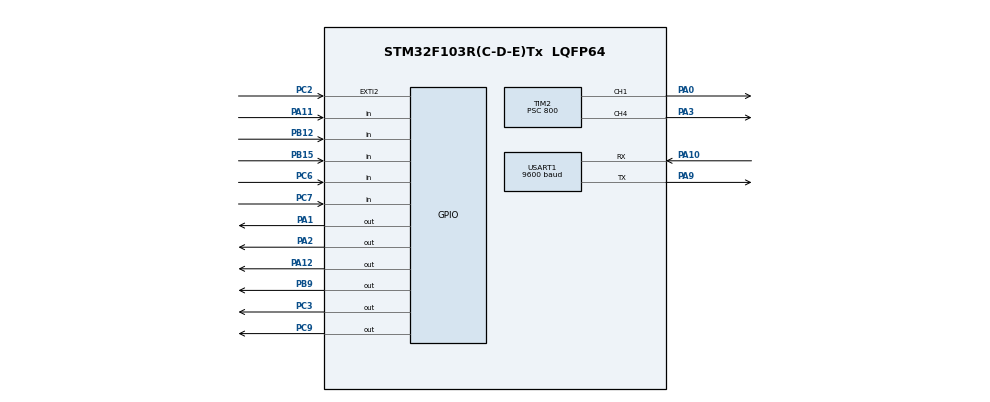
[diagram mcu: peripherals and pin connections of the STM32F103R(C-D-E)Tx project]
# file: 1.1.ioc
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Dma.Request0=USART1_RX
Dma.Request1=TIM6_UP
Dma.Request2=TIM7_UP
Dma.TIM6_UP.1.Direction=DMA_PERIPH_TO_MEMORY
Dma.TIM6_UP.1.Instance=DMA2_Channel3
Dma.TIM6_UP.1.MemDataAlignment=DMA_MDATAALIGN_HALFWORD
Dma.TIM6_UP.1.MemInc=DMA_MINC_ENABLE
Dma.TIM6_UP.1.Mode=DMA_CIRCULAR
Dma.TIM6_UP.1.PeriphDataAlignment=DMA_PDATAALIGN_HALFWORD
Dma.TIM6_UP.1.PeriphInc=DMA_PINC_DISABLE
Dma.TIM6_UP.1.Priority=DMA_PRIORITY_LOW
Dma.TIM7_UP.2.Direction=DMA_PERIPH_TO_MEMORY
Dma.TIM7_UP.2.Instance=DMA2_Channel4
Dma.TIM7_UP.2.MemDataAlignment=DMA_MDATAALIGN_HALFWORD
Dma.TIM7_UP.2.MemInc=DMA_MINC_ENABLE
Dma.TIM7_UP.2.Mode=DMA_CIRCULAR
Dma.TIM7_UP.2.PeriphDataAlignment=DMA_PDATAALIGN_HALFWORD
Dma.TIM7_UP.2.PeriphInc=DMA_PINC_DISABLE
Dma.TIM7_UP.2.Priority=DMA_PRIORITY_LOW
Dma.USART1_RX.0.Direction=DMA_PERIPH_TO_MEMORY
Dma.USART1_RX.0.Instance=DMA1_Channel5
Dma.USART1_RX.0.MemDataAlignment=DMA_MDATAALIGN_WORD
Dma.USART1_RX.0.MemInc=DMA_MINC_ENABLE
Dma.USART1_RX.0.Mode=DMA_CIRCULAR
Dma.USART1_RX.0.PeriphDataAlignment=DMA_PDATAALIGN_WORD
Dma.USART1_RX.0.PeriphInc=DMA_PINC_DISABLE
Dma.USART1_RX.0.Priority=DMA_PRIORITY_LOW
Mcu.Family=STM32F1
Mcu.Name=STM32F103R(C-D-E)Tx
Mcu.Package=LQFP64
NVIC.DMA1_Channel5_IRQn=true\:0\:0\:false\:false\:true
NVIC.DMA2_Channel3_IRQn=true\:0\:0\:false\:false\:true
NVIC.DMA2_Channel4_5_IRQn=true\:0\:0\:false\:false\:true
NVIC.EXTI2_IRQn=true\:0\:0\:false\:false\:true
NVIC.PriorityGroup=NVIC_PRIORITYGROUP_4
NVIC.TIM6_IRQn=true\:0\:0\:false\:false\:true
NVIC.TIM7_IRQn=true\:0\:0\:false\:false\:true
NVIC.USART1_IRQn=true\:0\:0\:false\:false\:true
PA0-WKUP.Signal=S_TIM2_CH1_ETR
PA1.Signal=GPIO_Output
PA10.Mode=Asynchronous
PA10.Signal=USART1_RX
PA11.Signal=GPIO_Input
PA12.Signal=GPIO_Output
PA13.Mode=Serial_Wire
PA13.Signal=SYS_JTMS-SWDIO
PA14.Mode=Serial_Wire
PA14.Signal=SYS_JTCK-SWCLK
PA2.Signal=GPIO_Output
PA3.Signal=S_TIM2_CH4
PA9.Mode=Asynchronous
PA9.Signal=USART1_TX
PB12.Signal=GPIO_Input
PB15.Signal=GPIO_Input
PB9.Signal=GPIO_Output
PC2.GPIO_ModeDefaultEXTI=GPIO_MODE_IT_RISING_FALLING
PC2.Signal=GPXTI2
PC3.Signal=GPIO_Output
PC6.Signal=GPIO_Input
PC7.Signal=GPIO_Input
PC9.Signal=GPIO_Output
ProjectManager.HeapSize=0x200
ProjectManager.StackSize=0x400
ProjectManager.TargetToolchain=MDK-ARM V5
RCC.APB1Freq_Value=8000000
RCC.APB2Freq_Value=8000000
SH.S_TIM2_CH1_ETR.0=TIM2_CH1,PWM Generation1 CH1
SH.S_TIM2_CH4.0=TIM2_CH4,PWM Generation4 CH4
TIM2.Channel-PWM\ Generation1\ CH1=TIM_CHANNEL_1
TIM2.Channel-PWM\ Generation4\ CH4=TIM_CHANNEL_4
TIM2.Period=999
TIM2.Prescaler=800
TIM2.Pulse-PWM\ Generation1\ CH1=999
TIM2.Pulse-PWM\ Generation4\ CH4=999
TIM6.Period=10000
TIM6.Prescaler=800
TIM7.Period=160
USART1.BaudRate=9600
USART1.VirtualMode=VM_ASYNC
VP_TIM6_VS_ClockSourceINT.Mode=Enable_Timer
VP_TIM7_VS_ClockSourceINT.Mode=Enable_Timer
board=1.1

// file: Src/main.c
/**
  ******************************************************************************
  * File Name          : main.c
  * Description        : Main program body
  ******************************************************************************
  ** This notice applies to any and all portions of this file
  * that are not between comment pairs USER CODE BEGIN and
  * USER CODE END. Other portions of this file, whether
  * inserted by the user or by software development tools
  * are owned by their respective copyright owners.
  *
  * COPYRIGHT(c) 2022 STMicroelectronics
  *
  * Redistribution and use in source and binary forms, with or without modification,
  * are permitted provided that the following conditions are met:
  *   1. Redistributions of source code must retain the above copyright notice,
  *      this list of conditions and the following disclaimer.
  *   2. Redistributions in binary form must reproduce the above copyright notice,
  *      this list of conditions and the following disclaimer in the documentation
  *      and/or other materials provided with the distribution.
  *   3. Neither the name of STMicroelectronics nor the names of its contributors
  *      may be used to endorse or promote products derived from this software
  *      without specific prior written permission.
  *
  * THIS SOFTWARE IS PROVIDED BY THE COPYRIGHT HOLDERS AND CONTRIBUTORS "AS IS"
  * AND ANY EXPRESS OR IMPLIED WARRANTIES, INCLUDING, BUT NOT LIMITED TO, THE
  * IMPLIED WARRANTIES OF MERCHANTABILITY AND FITNESS FOR A PARTICULAR PURPOSE ARE
  * DISCLAIMED. IN NO EVENT SHALL THE COPYRIGHT HOLDER OR CONTRIBUTORS BE LIABLE
  * FOR ANY DIRECT, INDIRECT, INCIDENTAL, SPECIAL, EXEMPLARY, OR CONSEQUENTIAL
  * DAMAGES (INCLUDING, BUT NOT LIMITED TO, PROCUREMENT OF SUBSTITUTE GOODS OR
  * SERVICES; LOSS OF USE, DATA, OR PROFITS; OR BUSINESS INTERRUPTION) HOWEVER
  * CAUSED AND ON ANY THEORY OF LIABILITY, WHETHER IN CONTRACT, STRICT LIABILITY,
  * OR TORT (INCLUDING NEGLIGENCE OR OTHERWISE) ARISING IN ANY WAY OUT OF THE USE
  * OF THIS SOFTWARE, EVEN IF ADVISED OF THE POSSIBILITY OF SUCH DAMAGE.
  *
  ******************************************************************************
  */
#include "main.h"
#include "stm32f1xx_hal.h"
#include "dma.h"
#include "tim.h"
#include "usart.h"
#include "gpio.h"

/* USER CODE BEGIN Includes */
#include "string.h"

#include "Legacy/stm32_hal_legacy.h"
#define USE_HAL_LEGACY

#define Echo_GPIO GPIOC
#define Echo_PIN GPIO_PIN_2

#define Trig_GPIO GPIOC
#define Trig_PIN GPIO_PIN_3

//定义电机pwm占空比
#define full_speed 150

#define null_speed 0

#define correct_speed 100

#define MOTOR_A_CON1_GPIO GPIOA
#define MOTOR_A_CON1_PIN GPIO_PIN_2

#define MOTOR_A_CON2_GPIO GPIOB
#define MOTOR_A_CON2_PIN GPIO_PIN_9

#define MOTOR_A_EN_GPIO GPIOA
#define MOTOR_A_EN_PIN GPIO_PIN_0

#define MOTOR_B_CON1_GPIO GPIOA
#define MOTOR_B_CON1_PIN GPIO_PIN_1

#define MOTOR_B_CON2_GPIO GPIOC
#define MOTOR_B_CON2_PIN GPIO_PIN_9

#define MOTOR_B_EN_GPIO GPIOA
#define MOTOR_B_EN_PIN GPIO_PIN_3

//定义红外引脚
#define Left1_GPIO GPIOC
#define Left1_PIN GPIO_PIN_7

#define Left2_GPIO GPIOC
#define Left2_PIN GPIO_PIN_6

#define Middle_GPIO  GPIOB
#define Middle_PIN  GPIO_PIN_12

#define Right1_GPIO GPIOA
#define Right1_PIN GPIO_PIN_11

#define Right2_GPIO GPIOB
#define Right2_PIN GPIO_PIN_15

#define Left1 HAL_GPIO_ReadPin(Left1_GPIO,Left1_PIN)
#define Left2 HAL_GPIO_ReadPin(Left2_GPIO,Left2_PIN)
#define Middle HAL_GPIO_ReadPin(Middle_GPIO,Middle_PIN)
#define Right1 HAL_GPIO_ReadPin(Right1_GPIO,Right1_PIN)
#define Right2 HAL_GPIO_ReadPin(Right2_GPIO,Right2_PIN)

/* USER CODE END Includes */

/* USER CODE BEGIN PV */
/* Private variables ---------------------------------------------------------*/
//	uint8_t RxData[5];
	char RxData[1];
	int ultrasonic = 0;
	int ultrasonic_time;
	unsigned char b[4]={0};

/* USER CODE END PV */

void SystemClock_Config(void);

/* USER CODE BEGIN PFP */
/* Private function prototypes -----------------------------------------------*/

/* USER CODE END PFP */

/* USER CODE BEGIN 0 */
//输入
//int fputc(int ch, FILE *f)
//{
//    while((USART1->SR&0X40)==0);
//    USART1->DR = (uint8_t) ch;
//    return ch;
//}
//电机驱动
void Change_Pulse(uint16_t left,uint16_t right)
{
	__HAL_TIM_SetCompare(&htim2, TIM_CHANNEL_1, left);
	__HAL_TIM_SetCompare(&htim2, TIM_CHANNEL_4, right);

}
//-----------------------------------------------
void Correct_Left(void)//左转
 {
	Change_Pulse(correct_speed,full_speed);
	HAL_GPIO_WritePin(MOTOR_A_CON1_GPIO, MOTOR_A_CON1_PIN, GPIO_PIN_SET);
	HAL_GPIO_WritePin(MOTOR_A_CON2_GPIO, MOTOR_A_CON2_PIN, GPIO_PIN_RESET);
	HAL_GPIO_WritePin(MOTOR_B_CON1_GPIO, MOTOR_B_CON1_PIN, GPIO_PIN_RESET);
	HAL_GPIO_WritePin(MOTOR_B_CON2_GPIO, MOTOR_B_CON2_PIN, GPIO_PIN_SET);
 }
//------------------------------------------------
 void Correct_Right(void)//右转
 {
	Change_Pulse(full_speed,correct_speed);
	HAL_GPIO_WritePin(MOTOR_A_CON1_GPIO, MOTOR_A_CON1_PIN, GPIO_PIN_RESET);
	HAL_GPIO_WritePin(MOTOR_A_CON2_GPIO, MOTOR_A_CON2_PIN, GPIO_PIN_SET);
	HAL_GPIO_WritePin(MOTOR_B_CON1_GPIO, MOTOR_B_CON1_PIN, GPIO_PIN_SET);
	HAL_GPIO_WritePin(MOTOR_B_CON2_GPIO, MOTOR_B_CON2_PIN, GPIO_PIN_RESET);
 }
//-----------------------------------------------------
void Straight(void)	//直行
{
	Change_Pulse(full_speed,full_speed);
	HAL_GPIO_WritePin(MOTOR_A_CON1_GPIO, MOTOR_A_CON1_PIN, GPIO_PIN_RESET);
	HAL_GPIO_WritePin(MOTOR_A_CON2_GPIO, MOTOR_A_CON2_PIN, GPIO_PIN_SET);
	HAL_GPIO_WritePin(MOTOR_B_CON1_GPIO, MOTOR_B_CON1_PIN, GPIO_PIN_RESET);
	HAL_GPIO_WritePin(MOTOR_B_CON2_GPIO, MOTOR_B_CON2_PIN, GPIO_PIN_SET);
}
void Back(void)	//后退
{
	Change_Pulse(full_speed,full_speed);
	HAL_GPIO_WritePin(MOTOR_A_CON1_GPIO, MOTOR_A_CON1_PIN, GPIO_PIN_SET);
	HAL_GPIO_WritePin(MOTOR_A_CON2_GPIO, MOTOR_A_CON2_PIN, GPIO_PIN_RESET);
	HAL_GPIO_WritePin(MOTOR_B_CON1_GPIO, MOTOR_B_CON1_PIN, GPIO_PIN_SET);
	HAL_GPIO_WritePin(MOTOR_B_CON2_GPIO, MOTOR_B_CON2_PIN, GPIO_PIN_RESET);
}
void Stop(void)	//停止
{
	Change_Pulse(null_speed,null_speed);
	HAL_GPIO_WritePin(MOTOR_A_CON1_GPIO, MOTOR_A_CON1_PIN, GPIO_PIN_RESET);
	HAL_GPIO_WritePin(MOTOR_A_CON2_GPIO, MOTOR_A_CON2_PIN, GPIO_PIN_RESET);
	HAL_GPIO_WritePin(MOTOR_B_CON1_GPIO, MOTOR_B_CON1_PIN, GPIO_PIN_RESET);
	HAL_GPIO_WritePin(MOTOR_B_CON2_GPIO, MOTOR_B_CON2_PIN, GPIO_PIN_RESET);
}
//循迹函数
void Xunji(void)
{
		if(0 == HAL_GPIO_ReadPin(Left2_GPIO,Left2_PIN) && 0 == HAL_GPIO_ReadPin(Right2_GPIO,Right2_PIN))
		{
			Straight();
		}
		else if(0 == HAL_GPIO_ReadPin(Right2_GPIO,Right2_PIN) || 0 == HAL_GPIO_ReadPin(Right1_GPIO,Right1_PIN))
		{
			Correct_Right();
			HAL_Delay(1000);
		}
		else if(0 == HAL_GPIO_ReadPin(Left2_GPIO,Left2_PIN) || 0 == HAL_GPIO_ReadPin(Left1_GPIO,Left1_PIN))
		{
			Correct_Left();
			HAL_Delay(1000);
		}
		else
		{
			Correct_Left();
			HAL_Delay(5000);
		}
}
/* USER CODE END 0 */

int main(void)
{

  /* MCU Configuration----------------------------------------------------------*/

  /* Reset of all peripherals, Initializes the Flash interface and the Systick. */
  HAL_Init();

  /* Configure the system clock */
  SystemClock_Config();

  /* Initialize all configured peripherals */
  MX_GPIO_Init();
  MX_DMA_Init();
  MX_USART1_UART_Init();
  MX_TIM6_Init();
  MX_TIM7_Init();
  MX_TIM2_Init();

  /* USER CODE BEGIN 2 */
	HAL_GPIO_WritePin(GPIOA, GPIO_PIN_12, GPIO_PIN_SET);//铚傞福鍣ㄥ厛鍏抽棴
	HAL_TIM_Base_Start_IT(&htim6);
	HAL_TIM_PWM_Start(&htim2, TIM_CHANNEL_1);
	HAL_TIM_PWM_Start(&htim2, TIM_CHANNEL_4);

//			HAL_Delay(1000);

  /* USER CODE END 2 */

  /* Infinite loop */
  while (1)
  {

  /* USER CODE BEGIN 3 */
	HAL_UART_Receive_IT(&huart1,(unsigned char *)RxData, 1);	//从端口接收数据
	unsigned char a[] = "060";
	int ret = strcmp((char *)b,(char *)a);

	if(strncmp(RxData,"z",1) == 0)//循迹
	{
		Xunji();
	}
	else if(strncmp(RxData,"c",1) == 0)//避障
	{
		HAL_UART_Transmit(&huart1,b,3,10);
		if(ret <= 0)
		{
			Correct_Left();
			HAL_GPIO_WritePin(GPIOB, GPIO_PIN_6, GPIO_PIN_RESET);//灯亮
		}
		else
		{
			Straight();
			HAL_GPIO_WritePin(GPIOB, GPIO_PIN_6, GPIO_PIN_SET);	//灯灭
		}
	}
  }
  /* USER CODE END 3 */

}

/** System Clock Configuration
*/
void SystemClock_Config(void)
{

  RCC_OscInitTypeDef RCC_OscInitStruct;
  RCC_ClkInitTypeDef RCC_ClkInitStruct;

    /**Initializes the CPU, AHB and APB busses clocks
    */
  RCC_OscInitStruct.OscillatorType = RCC_OSCILLATORTYPE_HSI;
  RCC_OscInitStruct.HSIState = RCC_HSI_ON;
  RCC_OscInitStruct.HSICalibrationValue = 16;
  RCC_OscInitStruct.PLL.PLLState = RCC_PLL_NONE;
  if (HAL_RCC_OscConfig(&RCC_OscInitStruct) != HAL_OK)
  {
    _Error_Handler(__FILE__, __LINE__);
  }

    /**Initializes the CPU, AHB and APB busses clocks
    */
  RCC_ClkInitStruct.ClockType = RCC_CLOCKTYPE_HCLK|RCC_CLOCKTYPE_SYSCLK
                              |RCC_CLOCKTYPE_PCLK1|RCC_CLOCKTYPE_PCLK2;
  RCC_ClkInitStruct.SYSCLKSource = RCC_SYSCLKSOURCE_HSI;
  RCC_ClkInitStruct.AHBCLKDivider = RCC_SYSCLK_DIV1;
  RCC_ClkInitStruct.APB1CLKDivider = RCC_HCLK_DIV1;
  RCC_ClkInitStruct.APB2CLKDivider = RCC_HCLK_DIV1;

  if (HAL_RCC_ClockConfig(&RCC_ClkInitStruct, FLASH_LATENCY_0) != HAL_OK)
  {
    _Error_Handler(__FILE__, __LINE__);
  }

    /**Configure the Systick interrupt time
    */
  HAL_SYSTICK_Config(HAL_RCC_GetHCLKFreq()/1000);

    /**Configure the Systick
    */
  HAL_SYSTICK_CLKSourceConfig(SYSTICK_CLKSOURCE_HCLK);

  /* SysTick_IRQn interrupt configuration */
  HAL_NVIC_SetPriority(SysTick_IRQn, 0, 0);
}

/* USER CODE BEGIN 4 */
void HAL_UART_RxCpltCallback(UART_HandleTypeDef *UartHandle)//控制函数，小车行进
{
	HAL_UART_Transmit(&huart1,(unsigned char *)RxData,1,10);
	if(strncmp(RxData,"g",1) == 0)
	{
		Straight();
	}
	else if(strncmp(RxData,"l",1) == 0)
	{
		Correct_Left();
	}
	else if(strncmp(RxData,"r",1) == 0)
	{
		Correct_Right();
	}
	else if(strncmp(RxData,"b",1) == 0)
	{
		Back();
	}
	else if(strncmp(RxData,"s",1) == 0)
	{
		Stop();
	}
}

void HAL_TIM_PeriodElapsedCallback(TIM_HandleTypeDef *htim)
{
    if(htim==&htim6)
    {
        HAL_TIM_Base_Stop_IT(&htim6);
        ultrasonic=0;
        HAL_GPIO_WritePin(Trig_GPIO, Trig_PIN, GPIO_PIN_SET);
		HAL_TIM_Base_Start_IT(&htim7);
    }
    else if(htim==&htim7)
    {
        HAL_GPIO_WritePin(Trig_GPIO,Trig_PIN, GPIO_PIN_RESET);
        ultrasonic=1;
        HAL_TIM_Base_Stop_IT(&htim7);
        HAL_TIM_Base_Start_IT(&htim6);
    }
}

void HAL_GPIO_EXTI_Callback(uint16_t GPIO_Pin)//中断回调函数
{
	HAL_GPIO_TogglePin(GPIOB,GPIO_PIN_6);
    if(GPIO_Pin==GPIO_PIN_2)
    {
		if(HAL_GPIO_ReadPin(Echo_GPIO, Echo_PIN))
        {
            ultrasonic_time=__HAL_TIM_GET_COUNTER(&htim6);
        }
        else if(ultrasonic==1)
        {
            ultrasonic=0;
            ultrasonic_time=__HAL_TIM_GET_COUNTER(&htim6)-ultrasonic_time;
            ultrasonic_time=ultrasonic_time*170/100;
            ultrasonic_time=ultrasonic_time%1000;//?cm???,????
            b[0]=ultrasonic_time/100+'0';
            ultrasonic_time=ultrasonic_time%100;
            b[1]=ultrasonic_time/10+'0';
            b[2]=ultrasonic_time%10+'0';
            ultrasonic_time=0;
			//HAL_UART_Transmit(&huart1,b,3,10);
        }
    }
}
/* USER CODE END 4 */

void _Error_Handler(char * file, int line)
{
  while(1)
  {
  }
}

/************************ (C) COPYRIGHT STMicroelectronics *****END OF FILE****/
